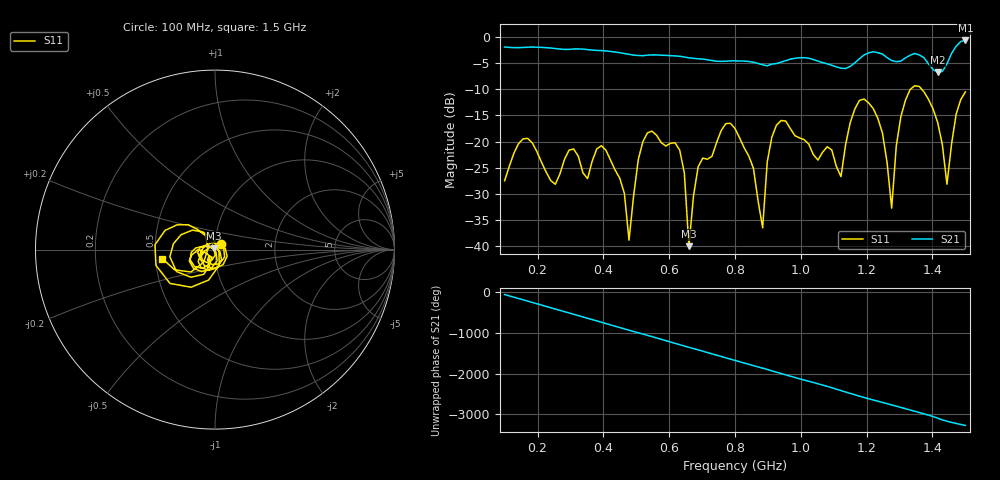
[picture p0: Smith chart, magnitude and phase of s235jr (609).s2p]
! NanoVNA-App
! Date: 2025-09-25 15:08:54
! Start: 100MHz Stop: 1,5GHz Points: 101
! S-Parameter data: F S11 S21 S12 S22
# Hz S RI R 50
!  Frequency  S11_Real  S11_Imag  S21_Real  S21_Imag  S12_Real  S12_Imag  S22_Real  S22_Imag
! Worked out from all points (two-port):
!   101 points, 100 MHz to 1.5 GHz, reference 50 ohm
!   highest |S21| = -0.72 dB at 1.5 GHz (marker M1); lowest = -6.8 dB at 1.416 GHz (marker M2)
!   |S21| within 3 dB of the highest: start of sweep to 628.2 MHz; 1.188 GHz to 1.256 GHz (68.7 MHz wide, 5.62 % of centre) (the widest 2 of 4)
!   lowest |S11| = -39.9 dB at 660 MHz (marker M3), VSWR 1.02, Z = 49.2 + j0.64 ohm
!   |S11| at or under -10 dB: start of sweep to 1.333 GHz; 1.367 GHz to end of sweep
!   S12 and S22 are empty: the file has one direction only
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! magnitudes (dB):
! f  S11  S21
! 100 MHz  -27.5  -2.0
! 170 MHz  -19.4  -2.0
! 338 MHz  -26.0  -2.4
! 408 MHz  -21.6  -2.7
! 478 MHz  -38.8  -3.4
! 520 MHz  -20.0  -3.6
! 576 MHz  -20.2  -3.5
! 632 MHz  -21.6  -3.7
! 660 MHz  -39.9  -4.0
! 688 MHz  -24.8  -4.2
! 800 MHz  -17.5  -4.6
! 884 MHz  -36.4  -5.4
! 926 MHz  -16.9  -5.1
! 1.038 GHz  -22.5  -4.4
! 1.122 GHz  -26.7  -6.0
! 1.192 GHz  -11.9  -3.5
! 1.248 GHz  -18.4  -3.3
! 1.276 GHz  -32.7  -4.5
! 1.332 GHz  -10.1  -3.5
! 1.416 GHz  -16.4  -6.8
! 1.444 GHz  -28.1  -5.2
! 1.5 GHz  -10.5  -0.7
